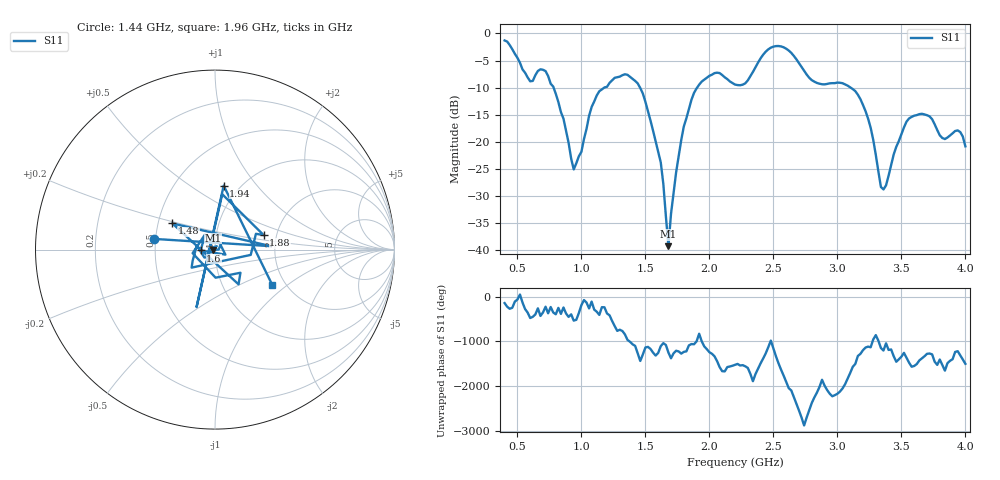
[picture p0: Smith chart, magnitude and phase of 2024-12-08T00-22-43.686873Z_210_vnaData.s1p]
!Created with skrf (http://scikit-rf.org).
# Hz S RI R 50.0
!freq ReS11 ImS11
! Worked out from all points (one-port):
!   181 points, 400 MHz to 4 GHz, reference 50 ohm
!   lowest |S11| = -39.3 dB at 1.68 GHz (marker M1), VSWR 1.02, Z = 48.9 - j0.182 ohm
!   |S11| at or under -10 dB: 782.8 MHz to 1.178 GHz (395.7 MHz wide, 40.4 % of centre); 1.458 GHz to 1.904 GHz (445.9 MHz wide, 26.5 % of centre); 3.104 GHz to end of sweep
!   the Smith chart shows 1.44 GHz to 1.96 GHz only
!   S11 on the Smith chart (normalised r, x): 1.44 GHz: 0.49, +0.07; 1.48 GHz: 0.59, +0.19; 1.6 GHz: 0.85, -0.01; 1.88 GHz: 1.71, +0.30; 1.94 GHz: 0.84, +0.69; 1.96 GHz: 1.71, -0.78
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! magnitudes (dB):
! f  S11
! 400 MHz  -1.3
! 600 MHz  -8.8
! 720 MHz  -6.9
! 860 MHz  -15.7
! 940 MHz  -25.1
! 1.12 GHz  -11.4
! 1.3 GHz  -8.0
! 1.44 GHz  -9.2
! 1.48 GHz  -11.1
! 1.6 GHz  -22.0
! 1.64 GHz  -27.8
! 1.68 GHz  -39.3
! 1.76 GHz  -22.6
! 1.88 GHz  -11.0
! 1.94 GHz  -8.9
! 1.96 GHz  -8.5
! 2.2 GHz  -9.4
! 2.48 GHz  -2.6
! 2.66 GHz  -4.2
! 2.82 GHz  -8.9
! 3.1 GHz  -9.9
! 3.24 GHz  -15.7
! 3.36 GHz  -28.8
! 3.56 GHz  -15.7
! 3.72 GHz  -15.3
! 3.82 GHz  -19.3
! 3.94 GHz  -17.9
! 4 GHz  -20.9
